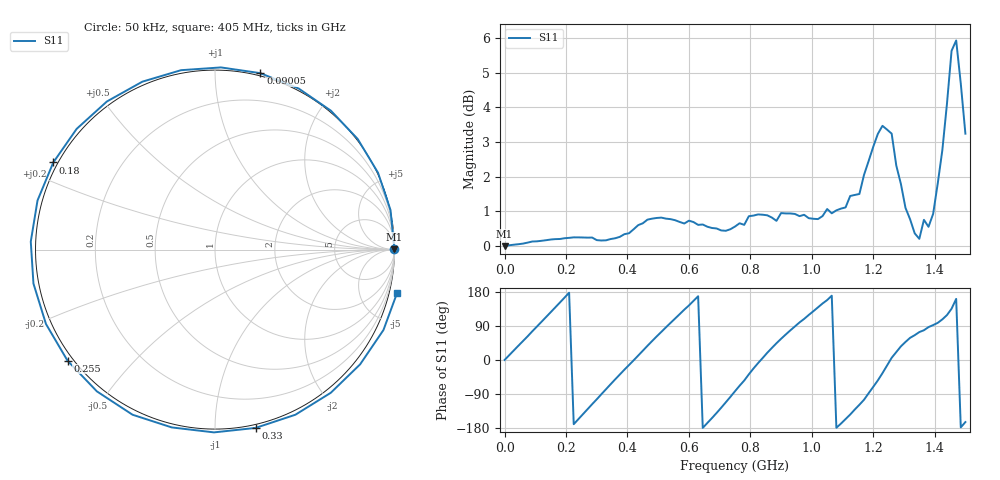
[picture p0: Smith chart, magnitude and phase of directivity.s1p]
! Created with skrf 1.8.0 (http://scikit-rf.org).
# Hz S RI R 50.0
!freq ReS11 ImS11
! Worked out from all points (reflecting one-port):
!   101 points, 50 kHz to 1.5 GHz, reference 50 ohm
!   lowest |S11| = 0.0 dB at 50 kHz (marker M1)
!   phase of S11 starts at 0 deg and turns +1276 deg over the sweep
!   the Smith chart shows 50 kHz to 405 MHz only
!   S11 on the Smith chart (normalised r, x): 50 kHz: open; 90.05 MHz: -0.02, +1.29; 180 MHz: -0.01, +0.25; 255 MHz: -0.02, -0.33; 330 MHz: -0.02, -1.25; 405 MHz: -1.53, -8.32
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50000  0.9994 0.00143
9.0047e7  0.2525 0.983
1.80044e8  -0.9009 0.4857
1.950435e8  -0.9889 0.2737
2.550415e8  -0.8216 -0.6188
3.30039e8  0.226 -0.9936
3.750375e8  0.8087 -0.6391
4.050365e8  1.015 -0.2394
4.50035e8  0.9805 0.4486
4.950335e8  0.513 0.9701
5.70031e8  -0.5592 0.9274
6.60028e8  -1.035 -0.2556
7.50025e8  0.1411 -1.057
7.950235e8  0.8713 -0.6778
8.40022e8  1.105 0.1009
9.0002e8  0.6243 0.9243
9.450185e8  0.0278 1.112
1.050015e9  -1.049 0.4206
1.125012e9  -0.9538 -0.6957
1.170011e9  -0.3254 -1.224
1.20001e9  0.4558 -1.313
1.245008e9  1.425 -0.3682
1.275008e9  1.221 0.4653
1.320006e9  0.5706 0.9317
1.410003e9  -0.1723 1.219
1.455002e9  -1.36 1.343
1.470001e9  -1.873 0.6344
1.5e9  -1.394 -0.4057
